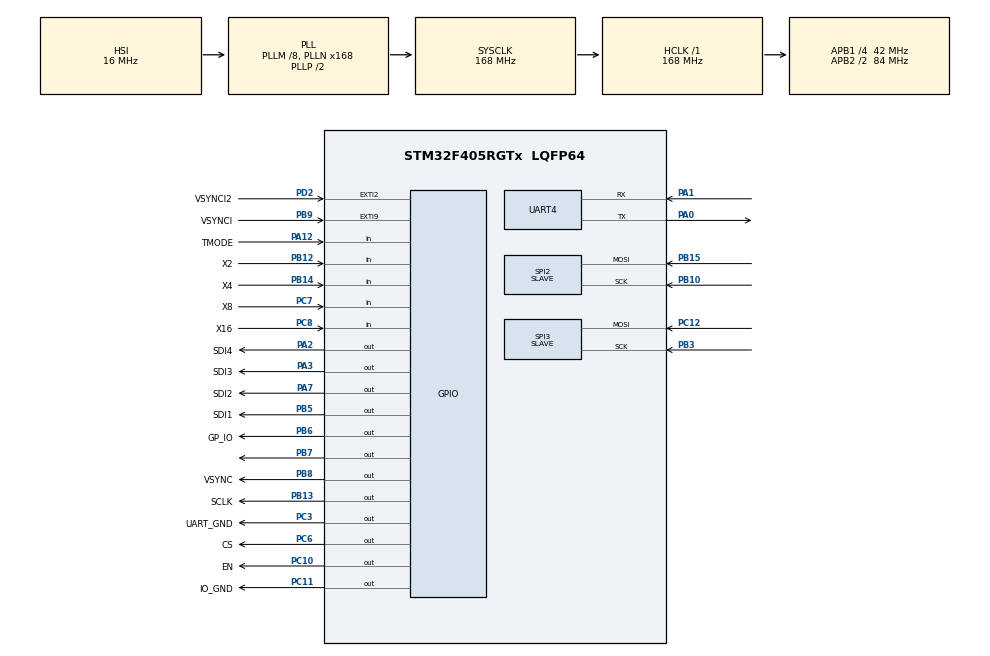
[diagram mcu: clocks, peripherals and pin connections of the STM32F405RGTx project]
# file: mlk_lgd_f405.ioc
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Dma.Request0=SPI2_RX
Dma.Request1=SPI3_RX
Dma.SPI2_RX.0.Direction=DMA_PERIPH_TO_MEMORY
Dma.SPI2_RX.0.FIFOMode=DMA_FIFOMODE_DISABLE
Dma.SPI2_RX.0.Instance=DMA1_Stream3
Dma.SPI2_RX.0.MemDataAlignment=DMA_MDATAALIGN_BYTE
Dma.SPI2_RX.0.MemInc=DMA_MINC_ENABLE
Dma.SPI2_RX.0.Mode=DMA_NORMAL
Dma.SPI2_RX.0.PeriphDataAlignment=DMA_PDATAALIGN_BYTE
Dma.SPI2_RX.0.PeriphInc=DMA_PINC_DISABLE
Dma.SPI2_RX.0.Priority=DMA_PRIORITY_MEDIUM
Dma.SPI3_RX.1.Direction=DMA_PERIPH_TO_MEMORY
Dma.SPI3_RX.1.FIFOMode=DMA_FIFOMODE_DISABLE
Dma.SPI3_RX.1.Instance=DMA1_Stream0
Dma.SPI3_RX.1.MemDataAlignment=DMA_MDATAALIGN_BYTE
Dma.SPI3_RX.1.MemInc=DMA_MINC_ENABLE
Dma.SPI3_RX.1.Mode=DMA_NORMAL
Dma.SPI3_RX.1.PeriphDataAlignment=DMA_PDATAALIGN_BYTE
Dma.SPI3_RX.1.PeriphInc=DMA_PINC_DISABLE
Dma.SPI3_RX.1.Priority=DMA_PRIORITY_LOW
Mcu.Family=STM32F4
Mcu.Name=STM32F405RGTx
Mcu.Package=LQFP64
NVIC.DMA1_Stream0_IRQn=true\:0\:0\:true\:false\:true\:false\:true
NVIC.DMA1_Stream3_IRQn=true\:0\:0\:true\:false\:true\:false\:true
NVIC.EXTI2_IRQn=true\:0\:0\:true\:false\:true\:true\:true
NVIC.EXTI9_5_IRQn=true\:0\:0\:true\:false\:true\:true\:true
NVIC.PriorityGroup=NVIC_PRIORITYGROUP_4
NVIC.SPI2_IRQn=true\:0\:0\:true\:false\:true\:true\:true
NVIC.SPI3_IRQn=true\:0\:0\:true\:false\:true\:true\:true
NVIC.TIM6_DAC_IRQn=true\:1\:0\:true\:false\:true\:true\:true
PA0-WKUP.Mode=Asynchronous
PA0-WKUP.Signal=UART4_TX
PA1.Mode=Asynchronous
PA1.Signal=UART4_RX
PA12.GPIO_Label=TMODE
PA12.GPIO_PuPd=GPIO_PULLUP
PA12.Signal=GPIO_Input
PA13.Mode=Serial_Wire
PA13.Signal=SYS_JTMS-SWDIO
PA14.Mode=Serial_Wire
PA14.Signal=SYS_JTCK-SWCLK
PA2.GPIO_Label=SDI4
PA2.GPIO_Speed=GPIO_SPEED_FREQ_HIGH
PA2.Signal=GPIO_Output
PA3.GPIO_Label=SDI3
PA3.GPIO_Speed=GPIO_SPEED_FREQ_HIGH
PA3.Signal=GPIO_Output
PA7.GPIO_Label=SDI2
PA7.GPIO_Speed=GPIO_SPEED_FREQ_HIGH
PA7.Signal=GPIO_Output
PB10.Mode=RX_Only_Simplex_Unidirect_Slave
PB10.Signal=SPI2_SCK
PB12.GPIO_Label=X2
PB12.GPIO_PuPd=GPIO_PULLUP
PB12.Signal=GPIO_Input
PB13.GPIO_Label=SCLK
PB13.GPIO_Speed=GPIO_SPEED_FREQ_HIGH
PB13.Signal=GPIO_Output
PB14.GPIO_Label=X4
PB14.GPIO_PuPd=GPIO_PULLUP
PB14.Signal=GPIO_Input
PB15.Mode=RX_Only_Simplex_Unidirect_Slave
PB15.Signal=SPI2_MOSI
PB3.Mode=RX_Only_Simplex_Unidirect_Slave
PB3.Signal=SPI3_SCK
PB5.GPIO_Label=SDI1
PB5.GPIO_Speed=GPIO_SPEED_FREQ_HIGH
PB5.Signal=GPIO_Output
PB6.GPIO_Label=GP_IO
PB6.Signal=GPIO_Output
PB7.Signal=GPIO_Output
PB8.GPIO_Label=VSYNC
PB8.Signal=GPIO_Output
PB9.GPIO_Label=VSYNCI
PB9.GPIO_ModeDefaultEXTI=GPIO_MODE_IT_RISING
PB9.Signal=GPXTI9
PC10.GPIO_Label=EN
PC10.Signal=GPIO_Output
PC11.GPIO_Label=IO_GND
PC11.Signal=GPIO_Output
PC12.Mode=RX_Only_Simplex_Unidirect_Slave
PC12.Signal=SPI3_MOSI
PC14-OSC32_IN.Mode=LSE-External-Oscillator
PC14-OSC32_IN.Signal=RCC_OSC32_IN
PC15-OSC32_OUT.Mode=LSE-External-Oscillator
PC15-OSC32_OUT.Signal=RCC_OSC32_OUT
PC3.GPIO_Label=UART_GND
PC3.Signal=GPIO_Output
PC6.GPIO_Label=CS
PC6.GPIO_Speed=GPIO_SPEED_FREQ_HIGH
PC6.Signal=GPIO_Output
PC7.GPIO_Label=X8
PC7.GPIO_PuPd=GPIO_PULLUP
PC7.Signal=GPIO_Input
PC8.GPIO_Label=X16
PC8.GPIO_PuPd=GPIO_PULLUP
PC8.Signal=GPIO_Input
PD2.GPIO_Label=VSYNCI2
PD2.Signal=GPXTI2
PH0-OSC_IN.Mode=HSE-External-Oscillator
PH0-OSC_IN.Signal=RCC_OSC_IN
PH1-OSC_OUT.Mode=HSE-External-Oscillator
PH1-OSC_OUT.Signal=RCC_OSC_OUT
ProjectManager.HeapSize=0x200
ProjectManager.StackSize=0x400
ProjectManager.TargetToolchain=STM32CubeIDE
RCC.48MHZClocksFreq_Value=84000000
RCC.AHBFreq_Value=168000000
RCC.APB1CLKDivider=RCC_HCLK_DIV4
RCC.APB1Freq_Value=42000000
RCC.APB1TimFreq_Value=84000000
RCC.APB2CLKDivider=RCC_HCLK_DIV2
RCC.APB2Freq_Value=84000000
RCC.APB2TimFreq_Value=168000000
RCC.CortexFreq_Value=168000000
RCC.HCLKFreq_Value=168000000
RCC.HSE_VALUE=25000000
RCC.HSI_VALUE=16000000
RCC.PLLM=8
RCC.PLLN=168
RCC.SYSCLKFreq_VALUE=168000000
RCC.SYSCLKSource=RCC_SYSCLKSOURCE_PLLCLK
RCC.VCOOutputFreq_Value=336000000
SPI2.Direction=SPI_DIRECTION_2LINES_RXONLY
SPI2.Mode=SPI_MODE_SLAVE
SPI2.VirtualType=VM_SLAVE
SPI3.Direction=SPI_DIRECTION_2LINES_RXONLY
SPI3.Mode=SPI_MODE_SLAVE
SPI3.VirtualType=VM_SLAVE
TIM6.AutoReloadPreload=TIM_AUTORELOAD_PRELOAD_ENABLE
TIM6.Period=1666
TIM6.Prescaler=(840-1)
TIM6.TIM_MasterOutputTrigger=TIM_TRGO_UPDATE
UART4.VirtualMode=Asynchronous
VP_TIM6_VS_ClockSourceINT.Mode=Enable_Timer
board=custom

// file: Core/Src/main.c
/* USER CODE BEGIN Header */
/**
  ******************************************************************************
  * @file           : main.c
  * @brief          : Main program body
  ******************************************************************************
  * @attention
  *
  * <h2><center>&copy; Copyright (c) 2021 STMicroelectronics.
  * All rights reserved.</center></h2>
  *
  * This software component is licensed by ST under BSD 3-Clause license,
  * the "License"; You may not use this file except in compliance with the
  * License. You may obtain a copy of the License at:
  *                        opensource.org/licenses/BSD-3-Clause
  *
  ******************************************************************************
  */
/* USER CODE END Header */
#include "main.h"

/* USER CODE BEGIN Includes */
#include <stdbool.h>
#include <string.h>
#include <test_mode.h>
#include "printf.h"
#include "dwt_stm32_delay.h"
#include "spi.h"
#include "lg_tcon.h"
#include "display.h"
/* USER CODE END Includes */

SPI_HandleTypeDef hspi2;
SPI_HandleTypeDef hspi3;
DMA_HandleTypeDef hdma_spi2_rx;
DMA_HandleTypeDef hdma_spi3_rx;

TIM_HandleTypeDef htim6;

UART_HandleTypeDef huart4;

/* USER CODE BEGIN PV */
uint8_t gVsyncFlag = 0;
extern tcon_frame_t TCON_FRAME[];
extern uint16_t DISPLAY[DISP_HEIGHT][DISP_WIDTH];
extern uint8_t dispBrightUp;
/* USER CODE END PV */

void SystemClock_Config(void);
static void MX_GPIO_Init(void);
static void MX_DMA_Init(void);
static void MX_TIM6_Init(void);
static void MX_SPI2_Init(void);
static void MX_SPI3_Init(void);
static void MX_UART4_Init(void);
/* USER CODE BEGIN PFP */
void TCON_SPI_RESET(void);
void TCON_SPI_RESET2(void);
/* USER CODE END PFP */

int main(void)
{
  /* USER CODE BEGIN 1 */
	uint16_t i = 0; // j = 0, k = 0, l = 0;
	uint8_t chksum[2];
	//uint16_t linebuffer[48];
  /* USER CODE END 1 */

  /* MCU Configuration--------------------------------------------------------*/

  /* Reset of all peripherals, Initializes the Flash interface and the Systick. */
  HAL_Init();

  /* Configure the system clock */
  SystemClock_Config();

  /* USER CODE BEGIN SysInit */
	TCON_init();
  /* USER CODE END SysInit */

  /* Initialize all configured peripherals */
  MX_GPIO_Init();
  MX_DMA_Init();
  MX_TIM6_Init();
  MX_SPI2_Init();
  MX_SPI3_Init();
  MX_UART4_Init();
  /* USER CODE BEGIN 2 */
	//Check Bright Multiplier
	if (HAL_GPIO_ReadPin(X16_GPIO_Port, X16_Pin) == GPIO_PIN_RESET) {
		dispBrightUp = 16;
	} else if (HAL_GPIO_ReadPin(X8_GPIO_Port, X8_Pin) == GPIO_PIN_RESET) {
		dispBrightUp = 8;
	} else if (HAL_GPIO_ReadPin(X4_GPIO_Port, X4_Pin) == GPIO_PIN_RESET) {
		dispBrightUp = 4;
	} else if (HAL_GPIO_ReadPin(X2_GPIO_Port, X2_Pin) == GPIO_PIN_RESET) {
		dispBrightUp = 2;
	}

	DWT_Delay_Init();
	MLK_SPI_init();

	printf("HI\n");
	// Wait 10ms
	HAL_Delay(10);
	HAL_GPIO_WritePin(EN_GPIO_Port, EN_Pin, GPIO_PIN_SET);
	HAL_Delay(10);

	MLK_DISP_config();

	TCON_FRAME[0].vsync = 0;
	TCON_FRAME[1].vsync = 0;
	/* Check Test Mode */
	if(HAL_GPIO_ReadPin(TMODE_GPIO_Port, TMODE_Pin) == GPIO_PIN_RESET) {
		TESTMODE_execute();
		NVIC_SystemReset();
	}

	HAL_TIM_Base_Start_IT(&htim6);
//	DISP_conv_to_FRAME();
//	MLK_SPI_write_frame_data();
  /* USER CODE END 2 */

  /* Infinite loop */
	while (1) {

    /* USER CODE BEGIN 3 */
		//printf("Hello\n");
		//HAL_Delay(1000);
#if 1
		if (TCON_FRAME[0].complete && TCON_FRAME[1].complete) {
			//HAL_TIM_Base_Stop_IT(&htim6);
			HAL_GPIO_TogglePin(GP_IO_GPIO_Port, GP_IO_Pin);
			if (TCON_FRAME[0].data[TCON_OFFSET_INDICATOR] != TCON_INDICATOR_VAL ||
					TCON_FRAME[1].data[TCON_OFFSET_INDICATOR] != TCON_INDICATOR_VAL) {
				printf("indicator fail\n");
				//TCON_SPI_RESET();
				NVIC_SystemReset();
			} else {
				//printf("SPI : [%x, %x], [%x, %x]\n", TCON_FRAME[0].data[TCON_OFFSET_INDICATOR], TCON_FRAME[0].data[TCON_OFFSET_CHKSUM],
				//		TCON_FRAME[1].data[TCON_OFFSET_INDICATOR], TCON_FRAME[1].data[TCON_OFFSET_CHKSUM]);

				// Check Sum
				chksum[0] = TCON_FRAME[0].data[TCON_OFFSET_INDICATOR]
				        ^ TCON_FRAME[0].data[TCON_OFFSET_CMD];
				chksum[1] = TCON_FRAME[1].data[TCON_OFFSET_INDICATOR]
				        ^ TCON_FRAME[1].data[TCON_OFFSET_CMD];
				for (i = 2; i < TCON_FRAME_LEN - 1; i++) {
					chksum[0] ^= TCON_FRAME[0].data[i];
					chksum[1] ^= TCON_FRAME[1].data[i];

				}

				// Verify checksum
				if (chksum[0] != TCON_FRAME[0].data[TCON_OFFSET_CHKSUM] ||
						chksum[1] != TCON_FRAME[1].data[TCON_OFFSET_CHKSUM]) {
					printf("Checksum fail\n");
					//TCON_SPI_RESET();
					NVIC_SystemReset();
				} else {
					// Transfer Data
					TCON_conv_to_DISPLAY();
					DISP_conv_to_FRAME();

					MLK_SPI_write_frame_data();
					TCON_SPI_RESET2();
					//__HAL_TIM_CLEAR_IT(&htim6 ,TIM_IT_UPDATE);
					TIM6->CNT = 0;
					//HAL_TIM_Base_Start_IT(&htim6);
				}
			}
		} else {
			__asm volatile("NOP");
			//i = TCON_FRAME[0].complete;
			//j = TCON_FRAME[1].complete;
			//k = TCON_FRAME[0].vsync;
			//l = TCON_FRAME[1].vsync;
		}
#endif

#if 0
		//if (gVsyncFlag != 0) {
			gVsyncFlag = 0;
			DISP_conv_to_FRAME();
			MLK_SPI_write_frame_data();
			j++;
			if(j == 5) {
				j = 0;
				if(i) {
					memcpy(DISPLAY[i-1], linebuffer, sizeof(uint16_t)*48);
				}
				memcpy(linebuffer, DISPLAY[i], sizeof(uint16_t)*48);
				memset(DISPLAY[i], 0x00, sizeof(uint16_t)*48);
				i++;
				if(i == 42) {
					i = 0;
				}
			}
		//}

		//else {
		//	__asm volatile("NOP");
		//}
#endif
	}
  /* USER CODE END 3 */
}

void SystemClock_Config(void)
{
  RCC_OscInitTypeDef RCC_OscInitStruct = {0};
  RCC_ClkInitTypeDef RCC_ClkInitStruct = {0};

  /** Configure the main internal regulator output voltage
  */
  __HAL_RCC_PWR_CLK_ENABLE();
  __HAL_PWR_VOLTAGESCALING_CONFIG(PWR_REGULATOR_VOLTAGE_SCALE1);
  /** Initializes the RCC Oscillators according to the specified parameters
  * in the RCC_OscInitTypeDef structure.
  */
  RCC_OscInitStruct.OscillatorType = RCC_OSCILLATORTYPE_HSI;
  RCC_OscInitStruct.HSIState = RCC_HSI_ON;
  RCC_OscInitStruct.HSICalibrationValue = RCC_HSICALIBRATION_DEFAULT;
  RCC_OscInitStruct.PLL.PLLState = RCC_PLL_ON;
  RCC_OscInitStruct.PLL.PLLSource = RCC_PLLSOURCE_HSI;
  RCC_OscInitStruct.PLL.PLLM = 8;
  RCC_OscInitStruct.PLL.PLLN = 168;
  RCC_OscInitStruct.PLL.PLLP = RCC_PLLP_DIV2;
  RCC_OscInitStruct.PLL.PLLQ = 4;
  if (HAL_RCC_OscConfig(&RCC_OscInitStruct) != HAL_OK)
  {
    Error_Handler();
  }
  /** Initializes the CPU, AHB and APB buses clocks
  */
  RCC_ClkInitStruct.ClockType = RCC_CLOCKTYPE_HCLK|RCC_CLOCKTYPE_SYSCLK
                              |RCC_CLOCKTYPE_PCLK1|RCC_CLOCKTYPE_PCLK2;
  RCC_ClkInitStruct.SYSCLKSource = RCC_SYSCLKSOURCE_PLLCLK;
  RCC_ClkInitStruct.AHBCLKDivider = RCC_SYSCLK_DIV1;
  RCC_ClkInitStruct.APB1CLKDivider = RCC_HCLK_DIV4;
  RCC_ClkInitStruct.APB2CLKDivider = RCC_HCLK_DIV2;

  if (HAL_RCC_ClockConfig(&RCC_ClkInitStruct, FLASH_LATENCY_5) != HAL_OK)
  {
    Error_Handler();
  }
}

static void MX_SPI2_Init(void)
{

  /* SPI2 parameter configuration*/
  hspi2.Instance = SPI2;
  hspi2.Init.Mode = SPI_MODE_SLAVE;
  hspi2.Init.Direction = SPI_DIRECTION_2LINES_RXONLY;
  hspi2.Init.DataSize = SPI_DATASIZE_8BIT;
  hspi2.Init.CLKPolarity = SPI_POLARITY_LOW;
  hspi2.Init.CLKPhase = SPI_PHASE_1EDGE;
  hspi2.Init.NSS = SPI_NSS_SOFT;
  hspi2.Init.FirstBit = SPI_FIRSTBIT_MSB;
  hspi2.Init.TIMode = SPI_TIMODE_DISABLE;
  hspi2.Init.CRCCalculation = SPI_CRCCALCULATION_DISABLE;
  hspi2.Init.CRCPolynomial = 10;
  if (HAL_SPI_Init(&hspi2) != HAL_OK)
  {
    Error_Handler();
  }

}

static void MX_SPI3_Init(void)
{

  /* SPI3 parameter configuration*/
  hspi3.Instance = SPI3;
  hspi3.Init.Mode = SPI_MODE_SLAVE;
  hspi3.Init.Direction = SPI_DIRECTION_2LINES_RXONLY;
  hspi3.Init.DataSize = SPI_DATASIZE_8BIT;
  hspi3.Init.CLKPolarity = SPI_POLARITY_LOW;
  hspi3.Init.CLKPhase = SPI_PHASE_1EDGE;
  hspi3.Init.NSS = SPI_NSS_SOFT;
  hspi3.Init.FirstBit = SPI_FIRSTBIT_MSB;
  hspi3.Init.TIMode = SPI_TIMODE_DISABLE;
  hspi3.Init.CRCCalculation = SPI_CRCCALCULATION_DISABLE;
  hspi3.Init.CRCPolynomial = 10;
  if (HAL_SPI_Init(&hspi3) != HAL_OK)
  {
    Error_Handler();
  }

}

static void MX_TIM6_Init(void)
{

  TIM_MasterConfigTypeDef sMasterConfig = {0};

  htim6.Instance = TIM6;
  htim6.Init.Prescaler = (840-1);
  htim6.Init.CounterMode = TIM_COUNTERMODE_UP;
  htim6.Init.Period = 1666;
  htim6.Init.AutoReloadPreload = TIM_AUTORELOAD_PRELOAD_ENABLE;
  if (HAL_TIM_Base_Init(&htim6) != HAL_OK)
  {
    Error_Handler();
  }
  sMasterConfig.MasterOutputTrigger = TIM_TRGO_UPDATE;
  sMasterConfig.MasterSlaveMode = TIM_MASTERSLAVEMODE_DISABLE;
  if (HAL_TIMEx_MasterConfigSynchronization(&htim6, &sMasterConfig) != HAL_OK)
  {
    Error_Handler();
  }

}

static void MX_UART4_Init(void)
{

  huart4.Instance = UART4;
  huart4.Init.BaudRate = 115200;
  huart4.Init.WordLength = UART_WORDLENGTH_8B;
  huart4.Init.StopBits = UART_STOPBITS_1;
  huart4.Init.Parity = UART_PARITY_NONE;
  huart4.Init.Mode = UART_MODE_TX_RX;
  huart4.Init.HwFlowCtl = UART_HWCONTROL_NONE;
  huart4.Init.OverSampling = UART_OVERSAMPLING_16;
  if (HAL_UART_Init(&huart4) != HAL_OK)
  {
    Error_Handler();
  }

}

static void MX_DMA_Init(void)
{

  /* DMA controller clock enable */
  __HAL_RCC_DMA1_CLK_ENABLE();

  /* DMA interrupt init */
  /* DMA1_Stream0_IRQn interrupt configuration */
  HAL_NVIC_SetPriority(DMA1_Stream0_IRQn, 0, 0);
  HAL_NVIC_EnableIRQ(DMA1_Stream0_IRQn);
  /* DMA1_Stream3_IRQn interrupt configuration */
  HAL_NVIC_SetPriority(DMA1_Stream3_IRQn, 0, 0);
  HAL_NVIC_EnableIRQ(DMA1_Stream3_IRQn);

}

static void MX_GPIO_Init(void)
{
  GPIO_InitTypeDef GPIO_InitStruct = {0};

  /* GPIO Ports Clock Enable */
  __HAL_RCC_GPIOC_CLK_ENABLE();
  __HAL_RCC_GPIOH_CLK_ENABLE();
  __HAL_RCC_GPIOA_CLK_ENABLE();
  __HAL_RCC_GPIOB_CLK_ENABLE();
  __HAL_RCC_GPIOD_CLK_ENABLE();

  /*Configure GPIO pin Output Level */
  HAL_GPIO_WritePin(GPIOC, UART_GND_Pin|CS_Pin|EN_Pin|IO_GND_Pin, GPIO_PIN_RESET);

  /*Configure GPIO pin Output Level */
  HAL_GPIO_WritePin(GPIOA, SDI4_Pin|SDI3_Pin|SDI2_Pin, GPIO_PIN_RESET);

  /*Configure GPIO pin Output Level */
  HAL_GPIO_WritePin(GPIOB, SCLK_Pin|SDI1_Pin|GP_IO_Pin|GPIO_PIN_7
                          |VSYNC_Pin, GPIO_PIN_RESET);

  /*Configure GPIO pins : UART_GND_Pin EN_Pin IO_GND_Pin */
  GPIO_InitStruct.Pin = UART_GND_Pin|EN_Pin|IO_GND_Pin;
  GPIO_InitStruct.Mode = GPIO_MODE_OUTPUT_PP;
  GPIO_InitStruct.Pull = GPIO_NOPULL;
  GPIO_InitStruct.Speed = GPIO_SPEED_FREQ_LOW;
  HAL_GPIO_Init(GPIOC, &GPIO_InitStruct);

  /*Configure GPIO pins : SDI4_Pin SDI3_Pin SDI2_Pin */
  GPIO_InitStruct.Pin = SDI4_Pin|SDI3_Pin|SDI2_Pin;
  GPIO_InitStruct.Mode = GPIO_MODE_OUTPUT_PP;
  GPIO_InitStruct.Pull = GPIO_NOPULL;
  GPIO_InitStruct.Speed = GPIO_SPEED_FREQ_HIGH;
  HAL_GPIO_Init(GPIOA, &GPIO_InitStruct);

  /*Configure GPIO pins : X2_Pin X4_Pin */
  GPIO_InitStruct.Pin = X2_Pin|X4_Pin;
  GPIO_InitStruct.Mode = GPIO_MODE_INPUT;
  GPIO_InitStruct.Pull = GPIO_PULLUP;
  HAL_GPIO_Init(GPIOB, &GPIO_InitStruct);

  /*Configure GPIO pins : SCLK_Pin SDI1_Pin */
  GPIO_InitStruct.Pin = SCLK_Pin|SDI1_Pin;
  GPIO_InitStruct.Mode = GPIO_MODE_OUTPUT_PP;
  GPIO_InitStruct.Pull = GPIO_NOPULL;
  GPIO_InitStruct.Speed = GPIO_SPEED_FREQ_HIGH;
  HAL_GPIO_Init(GPIOB, &GPIO_InitStruct);

  /*Configure GPIO pin : CS_Pin */
  GPIO_InitStruct.Pin = CS_Pin;
  GPIO_InitStruct.Mode = GPIO_MODE_OUTPUT_PP;
  GPIO_InitStruct.Pull = GPIO_NOPULL;
  GPIO_InitStruct.Speed = GPIO_SPEED_FREQ_HIGH;
  HAL_GPIO_Init(CS_GPIO_Port, &GPIO_InitStruct);

  /*Configure GPIO pins : X8_Pin X16_Pin */
  GPIO_InitStruct.Pin = X8_Pin|X16_Pin;
  GPIO_InitStruct.Mode = GPIO_MODE_INPUT;
  GPIO_InitStruct.Pull = GPIO_PULLUP;
  HAL_GPIO_Init(GPIOC, &GPIO_InitStruct);

  /*Configure GPIO pin : TMODE_Pin */
  GPIO_InitStruct.Pin = TMODE_Pin;
  GPIO_InitStruct.Mode = GPIO_MODE_INPUT;
  GPIO_InitStruct.Pull = GPIO_PULLUP;
  HAL_GPIO_Init(TMODE_GPIO_Port, &GPIO_InitStruct);

  /*Configure GPIO pin : VSYNCI2_Pin */
  GPIO_InitStruct.Pin = VSYNCI2_Pin;
  GPIO_InitStruct.Mode = GPIO_MODE_IT_RISING;
  GPIO_InitStruct.Pull = GPIO_NOPULL;
  HAL_GPIO_Init(VSYNCI2_GPIO_Port, &GPIO_InitStruct);

  /*Configure GPIO pins : GP_IO_Pin PB7 VSYNC_Pin */
  GPIO_InitStruct.Pin = GP_IO_Pin|GPIO_PIN_7|VSYNC_Pin;
  GPIO_InitStruct.Mode = GPIO_MODE_OUTPUT_PP;
  GPIO_InitStruct.Pull = GPIO_NOPULL;
  GPIO_InitStruct.Speed = GPIO_SPEED_FREQ_LOW;
  HAL_GPIO_Init(GPIOB, &GPIO_InitStruct);

  /*Configure GPIO pin : VSYNCI_Pin */
  GPIO_InitStruct.Pin = VSYNCI_Pin;
  GPIO_InitStruct.Mode = GPIO_MODE_IT_RISING;
  GPIO_InitStruct.Pull = GPIO_NOPULL;
  HAL_GPIO_Init(VSYNCI_GPIO_Port, &GPIO_InitStruct);

  /* EXTI interrupt init*/
  HAL_NVIC_SetPriority(EXTI2_IRQn, 0, 0);
  HAL_NVIC_EnableIRQ(EXTI2_IRQn);

  HAL_NVIC_SetPriority(EXTI9_5_IRQn, 0, 0);
  HAL_NVIC_EnableIRQ(EXTI9_5_IRQn);

}

/* USER CODE BEGIN 4 */
inline void TCON_SPI_RESET(void)
{
	uint8_t c = 0;
//	HAL_DMA_DeInit(TCON_FRAME[0].pHdma);
//	HAL_DMA_DeInit(TCON_FRAME[1].pHdma);
//	HAL_SPI_DeInit(TCON_FRAME[0].pHspi);
//	HAL_SPI_DeInit(TCON_FRAME[1].pHspi);

	MX_DMA_Init();
	MX_SPI2_Init();
	MX_SPI3_Init();

	HAL_SPI_TransmitReceive(TCON_FRAME[0].pHspi, &c, &c, 1, 1000);
	HAL_SPI_TransmitReceive(TCON_FRAME[1].pHspi, &c, &c, 1, 1000);

	TCON_FRAME[0].complete = 0;
	TCON_FRAME[0].vsync = 0;
	TCON_FRAME[1].complete = 0;
	TCON_FRAME[1].vsync = 0;

	HAL_NVIC_SetPriority(EXTI2_IRQn, 0, 0);
	HAL_NVIC_EnableIRQ(EXTI2_IRQn);

	HAL_NVIC_SetPriority(EXTI9_5_IRQn, 0, 0);
	HAL_NVIC_EnableIRQ(EXTI9_5_IRQn);

}

inline void TCON_SPI_RESET2(void)
{
//	HAL_DMA_DeInit(TCON_FRAME[0].pHdma);
//	HAL_DMA_DeInit(TCON_FRAME[1].pHdma);
//	HAL_SPI_DeInit(TCON_FRAME[0].pHspi);
//	HAL_SPI_DeInit(TCON_FRAME[1].pHspi);

	MX_DMA_Init();
	MX_SPI2_Init();
	MX_SPI3_Init();

//	HAL_NVIC_DisableIRQ(DMA1_Stream3_IRQn);
//	HAL_NVIC_DisableIRQ(DMA1_Stream0_IRQn);
	TCON_FRAME[0].complete = 0;
	TCON_FRAME[0].vsync = 0;
	TCON_FRAME[1].complete = 0;
	TCON_FRAME[1].vsync = 0;
	HAL_NVIC_SetPriority(EXTI2_IRQn, 0, 0);
	HAL_NVIC_EnableIRQ(EXTI2_IRQn);

	HAL_NVIC_SetPriority(EXTI9_5_IRQn, 0, 0);
	HAL_NVIC_EnableIRQ(EXTI9_5_IRQn);
//	HAL_NVIC_EnableIRQ(EXTI9_5_IRQn);
//	HAL_NVIC_EnableIRQ(EXTI2_IRQn);
}
void VSYNC_set_freq(int hz)
{
	uint32_t prescaler = (640-1);
	uint32_t timerClock = 64000000;
	uint32_t counter;

	counter =  timerClock/((prescaler+1)*hz) -1;
	__HAL_TIM_SET_COUNTER(&htim6, (uint16_t)counter);
}
void HAL_TIM_PeriodElapsedCallback(TIM_HandleTypeDef *htim)
{
	static int cnt = 0;
	if (htim->Instance == TIM6) {
		//gVsyncFlag = 1;
		cnt++;
		//HAL_GPIO_TogglePin(GP_IO_GPIO_Port, GP_IO_Pin);
		//HAL_GPIO_WritePin(GP_IO_GPIO_Port, GP_IO_Pin,GPIO_PIN_SET);
		//HAL_Delay(1000);
		if(cnt > 1) {
			NVIC_SystemReset();
		}

	}
	else {
		__asm volatile("NOP");
	}
}

/* USER CODE END 4 */

void Error_Handler(void)
{
  __disable_irq();
  while (1)
  {
  }
}

/************************ (C) COPYRIGHT STMicroelectronics *****END OF FILE****/
